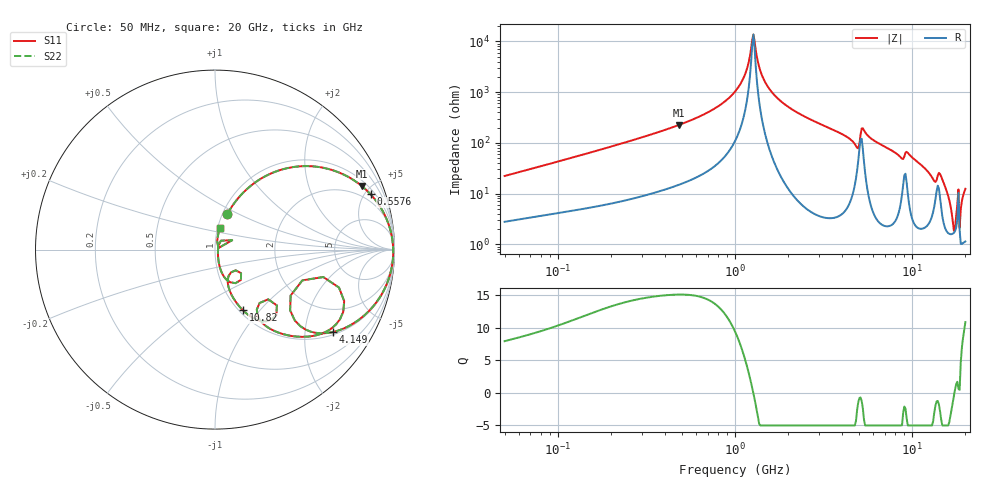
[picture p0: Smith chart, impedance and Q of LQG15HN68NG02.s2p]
!Murata Part Number: LQG15HN68NG02
!These Parameters are Measured in Series Mode Connection
!  o--[Z]--o
!Port1  Port2
!  o-------o
!Freq. Start=50[MHz] Stop=20[GHz], 401[Steps]
# Hz S RI R 50
!Freq.(Hz) S11(Real) S11(Imag) S21(Real) S21(Imag) S12(Real) S12(Imag) S22(Real) S22(Imag)
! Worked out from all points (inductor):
!   401 points, 50 MHz to 20 GHz, reference 50 ohm
!   read as one part in series: L = 68.9 nH near 51.52 MHz
!   highest Q = 15.1 at 480 MHz (marker M1), where L = 74 nH
!   self-resonance near 1.252 GHz
!   S11 on the Smith chart (normalised r, x): 50 MHz: 1.06, +0.44; 557.6 MHz: 1.36, +5.48; 4.149 GHz: 1.09, -2.80; 10.82 GHz: 1.04, -0.82; 20 GHz: 1.02, +0.25
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5e7  0.0696 0.1992  0.9304 -0.1992  0.9304 -0.1992  0.0696 0.1992
1.364002e8  0.2672 0.4018  0.7328 -0.4018  0.7328 -0.4018  0.2672 0.4018
3.721004e8  0.7165 0.4184  0.2835 -0.4184  0.2835 -0.4184  0.7165 0.4184
4.800071e8  0.8179 0.3542  0.1821 -0.3542  0.1821 -0.3542  0.8179 0.3542
5.575697e8  0.8672 0.3078  0.1328 -0.3078  0.1328 -0.3078  0.8672 0.3078
1e9  0.9808 0.0942  0.0192 -0.0942  0.0192 -0.0942  0.9808 0.0942
1.144317e9  0.9899 0.0412  0.0101 -0.0412  0.0101 -0.0412  0.9899 0.0412
1.270815e9  0.9928 -0.000668  0.0072 0.000668  0.0072 0.000668  0.9928 -0.000668
1.411297e9  0.9919 -0.043  0.00813 0.043  0.00813 0.043  0.9919 -0.043
1.590961e9  0.986 -0.0919  0.014 0.0919  0.014 0.0919  0.986 -0.0919
2.728004e9  0.8822 -0.3149  0.1178 0.3149  0.1178 0.3149  0.8822 -0.3149
4.149438e9  0.658 -0.459  0.342 0.459  0.342 0.459  0.658 -0.459
4.81993e9  0.4442 -0.3942  0.5558 0.3942  0.5558 0.3942  0.4442 -0.3942
5.117541e9  0.6031 -0.1528  0.3969 0.1528  0.3969 0.1528  0.6031 -0.1528
5.769027e9  0.6129 -0.4604  0.3871 0.4604  0.3871 0.4604  0.6129 -0.4604
7.442007e9  0.3646 -0.4663  0.6354 0.4663  0.6354 0.4663  0.3646 -0.4663
1.082228e10  0.1563 -0.3386  0.8437 0.3386  0.8437 0.3386  0.1563 -0.3386
1.334722e10  0.0759 -0.1467  0.9241 0.1467  0.9241 0.1467  0.0759 -0.1467
1.460232e10  0.0848 -0.1821  0.9152 0.1821  0.9152 0.1821  0.0848 -0.1821
1.597544e10  0.0238 -0.0853  0.9762 0.0853  0.9762 0.0853  0.0238 -0.0853
1.721783e10  0.0165 -0.0075  0.9835 0.0075  0.9835 0.0075  0.0165 -0.0075
2e10  0.0257 0.1187  0.9743 -0.1187  0.9743 -0.1187  0.0257 0.1187
